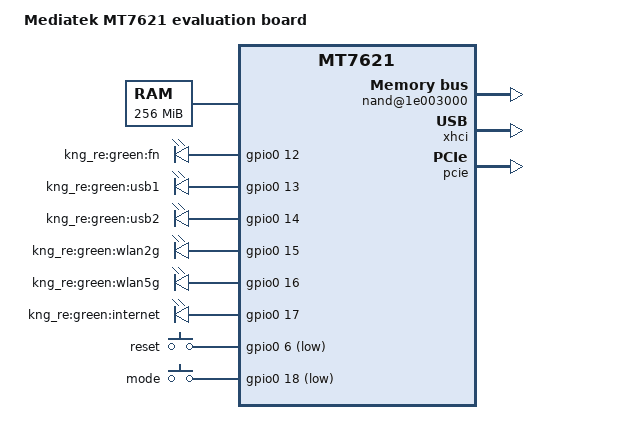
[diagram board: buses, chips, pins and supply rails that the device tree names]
/dts-v1/;

#include "mt7621.dtsi"

/ {
	compatible = "mediatek,mt7621-eval-board", "mediatek,mt7621-soc";
	model = "Mediatek MT7621 evaluation board";

	memory@0 {
		device_type = "memory";
		reg = <0x0 0x10000000>;
	};

	chosen {
		bootargs = "console=ttyS0,57600";
	};

	nand@1e003000 {
		status = "okay";

		partition@0 {
			label = "uboot";
			reg = <0x00000 0x80000>; /* 64 KB */
			read-only;
		};

		partition@80000 {
			label = "uboot_env";
			reg = <0x80000 0x80000>; /* 64 KB */
		};

		factory: partition@100000 {
			label = "factory";
			reg = <0x100000 0x80000>;
		};

		partition@180000 {
			label = "kernel";
			reg = <0x180000 0x400000>;
		};

		partition@580000 {
			label = "rootfs";
			reg = <0x580000 0x17c0000>;
		};

		partition@1d40000 {
			label = "config";
			reg = <0x1d40000 0x80000>;
		};

		partition@1dc0000 {
			label = "storage";
			reg = <0x1dc0000 0x200000>;
		};

		partition@1fc0000 {
			label = "dump";
			reg = <0x1fc0000 0x40000>;
		};

		partition@2000000 {
			label = "ubi";
			reg = <0x2000000 0x5f80000>;
		};
	};

	gpio-leds {
		compatible = "gpio-leds";

		fn {
			label = "kng_re:green:fn";
			gpios = <&gpio0 12 GPIO_ACTIVE_HIGH>;
		};

		usb1 {
			label = "kng_re:green:usb1";
			gpios = <&gpio0 13 GPIO_ACTIVE_HIGH>;
		};

		usb2 {
			label = "kng_re:green:usb2";
			gpios = <&gpio0 14 GPIO_ACTIVE_HIGH>;
		};

		wlan2g {
			label = "kng_re:green:wlan2g";
			gpios = <&gpio0 15 GPIO_ACTIVE_HIGH>;
		};

		wlan5g {
			label = "kng_re:green:wlan5g";
			gpios = <&gpio0 16 GPIO_ACTIVE_HIGH>;
		};

		internet {
			label = "kng_re:green:internet";
			gpios = <&gpio0 17 GPIO_ACTIVE_HIGH>;
		};
	};

	gpio-keys-polled {
		compatible = "gpio-keys-polled";
		#address-cells = <1>;
		#size-cells = <0>;
		poll-interval = <20>;

		reset {
			label = "reset";
			gpios = <&gpio0 6 1>;
			linux,code = <0x198>;
		};

		mode {
			label = "mode";
			gpios = <&gpio0 18 1>;
			linux,code = <0x100>;
		};
	};
};

&sdhci {
	status = "disabled";
};

&xhci {
	status = "okay";
};

&pinctrl {
	state_default: pinctrl0 {
		gpio {
			ralink,group = "i2c", "uart2", "uart3", "rgmii2", "jtag";
			ralink,function = "gpio";
		};
	};
};

&pcie {
	status = "okay";

	pcie0 {
		mt76@0,0 {
			reg = <0x0000 0 0 0 0>;
			device_type = "pci";
			mediatek,mtd-eeprom = <&factory 0x8000>;
			mediatek,2ghz = <1>;
			mediatek,5ghz = <1>;
		};
	};

	pcie1 {
		mt76@1,0 {
			reg = <0x0000 0 0 0 0>;
			device_type = "pci";
			mediatek,mtd-eeprom = <&factory 0x0000>;
			mediatek,2ghz = <1>;
			mediatek,5ghz = <1>;
		};
	};
};

&ethernet {
	mtd-mac-address = <&factory 0x4>;
	mediatek,portmap = "llllw";
};

&spi0 {
	status = "disabled";
};
